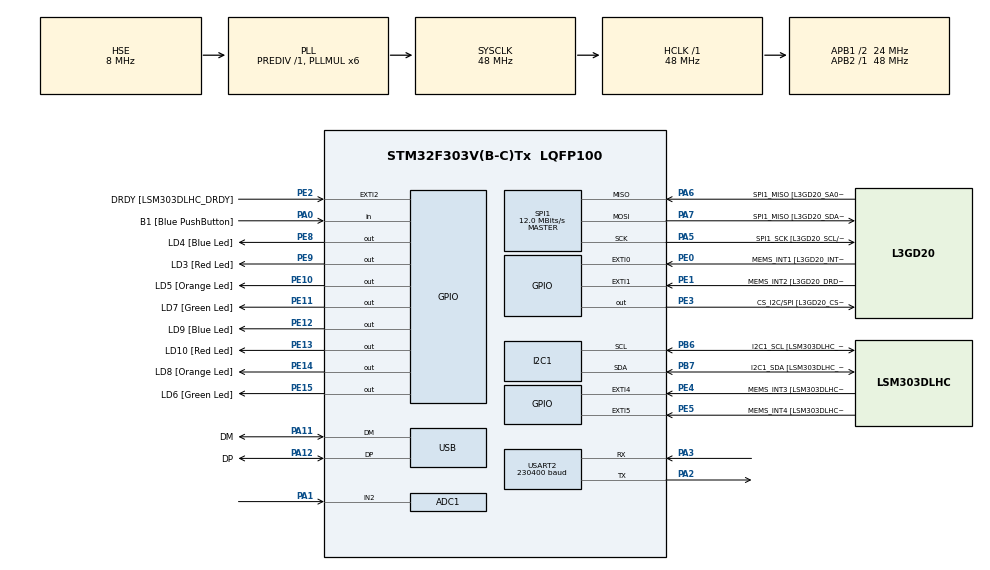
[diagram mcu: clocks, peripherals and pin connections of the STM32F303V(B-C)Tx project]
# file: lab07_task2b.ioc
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ADC1.Channel-0\#ChannelRegularConversion=ADC_CHANNEL_2
ADC1.ContinuousConvMode=ENABLE
ADC1.NbrOfConversionFlag=1
ADC1.Offset-0\#ChannelRegularConversion=0
ADC1.OffsetNumber-0\#ChannelRegularConversion=ADC_OFFSET_NONE
ADC1.Rank-0\#ChannelRegularConversion=1
ADC1.SamplingTime-0\#ChannelRegularConversion=ADC_SAMPLETIME_601CYCLES_5
ADC1.SamplingTimeOPAMP-0\#ChannelRegularConversion=ADC_SAMPLETIME_19CYCLES_5
ADC1.master=1
I2C1.Timing=0x2000090E
I2C1.Timing-I2C=0x2000090E
Mcu.Family=STM32F3
Mcu.Name=STM32F303V(B-C)Tx
Mcu.Package=LQFP100
NVIC.ADC1_2_IRQn=true\:0\:0\:false\:false\:true\:true\:true\:true
NVIC.PriorityGroup=NVIC_PRIORITYGROUP_0
PA0.GPIO_Label=B1 [Blue PushButton]
PA0.Signal=GPIO_Input
PA1.Mode=IN2-Single-Ended
PA1.Signal=ADC1_IN2
PA11.GPIO_Label=DM
PA11.Mode=Device
PA11.Signal=USB_DM
PA12.GPIO_Label=DP
PA12.Mode=Device
PA12.Signal=USB_DP
PA13.GPIO_Label=SWDIO
PA13.Mode=Serial_Wire
PA13.Signal=SYS_JTMS-SWDIO
PA14.GPIO_Label=SWCLK
PA14.Mode=Serial_Wire
PA14.Signal=SYS_JTCK-SWCLK
PA2.Mode=Asynchronous
PA2.Signal=USART2_TX
PA3.Mode=Asynchronous
PA3.Signal=USART2_RX
PA5.GPIO_Label=SPI1_SCK [L3GD20_SCL/SPC]
PA5.Mode=Full_Duplex_Master
PA5.Signal=SPI1_SCK
PA6.GPIO_Label=SPI1_MISO [L3GD20_SA0/SDO]
PA6.Mode=Full_Duplex_Master
PA6.Signal=SPI1_MISO
PA7.GPIO_Label=SPI1_MISO [L3GD20_SDA/SDI/SDO]
PA7.Mode=Full_Duplex_Master
PA7.Signal=SPI1_MOSI
PB3.GPIO_Label=SWO
PB3.Signal=SYS_JTDO-TRACESWO
PB6.GPIO_Label=I2C1_SCL [LSM303DLHC_SCL]
PB6.GPIO_Pu=GPIO_PULLUP
PB6.Mode=I2C
PB6.Signal=I2C1_SCL
PB7.GPIO_Label=I2C1_SDA [LSM303DLHC_SDA]
PB7.GPIO_Pu=GPIO_PULLUP
PB7.Mode=I2C
PB7.Signal=I2C1_SDA
PC14-OSC32_IN.GPIO_Label=OSC32_IN
PC14-OSC32_IN.Signal=RCC_OSC32_IN
PC15-OSC32_OUT.GPIO_Label=OSC32_OUT
PC15-OSC32_OUT.Signal=RCC_OSC32_OUT
PE0.GPIO_Label=MEMS_INT1 [L3GD20_INT1]
PE0.GPIO_ModeDefaultEXTI=GPIO_MODE_EVT_RISING
PE0.Signal=GPXTI0
PE1.GPIO_Label=MEMS_INT2 [L3GD20_DRDY/INT2]
PE1.GPIO_ModeDefaultEXTI=GPIO_MODE_EVT_RISING
PE1.Signal=GPXTI1
PE10.GPIO_Label=LD5 [Orange Led]
PE10.Signal=GPIO_Output
PE11.GPIO_Label=LD7 [Green Led]
PE11.Signal=GPIO_Output
PE12.GPIO_Label=LD9 [Blue Led]
PE12.Signal=GPIO_Output
PE13.GPIO_Label=LD10 [Red Led]
PE13.Signal=GPIO_Output
PE14.GPIO_Label=LD8 [Orange Led]
PE14.Signal=GPIO_Output
PE15.GPIO_Label=LD6 [Green Led]
PE15.Signal=GPIO_Output
PE2.GPIO_Label=DRDY [LSM303DLHC_DRDY]
PE2.GPIO_ModeDefaultEXTI=GPIO_MODE_EVT_RISING
PE2.Signal=GPXTI2
PE3.GPIO_Label=CS_I2C/SPI [L3GD20_CS_I2C/SPI]
PE3.Signal=GPIO_Output
PE4.GPIO_Label=MEMS_INT3 [LSM303DLHC_INT1]
PE4.GPIO_ModeDefaultEXTI=GPIO_MODE_EVT_RISING
PE4.Signal=GPXTI4
PE5.GPIO_Label=MEMS_INT4 [LSM303DLHC_INT2]
PE5.GPIO_ModeDefaultEXTI=GPIO_MODE_EVT_RISING
PE5.Signal=GPXTI5
PE8.GPIO_Label=LD4 [Blue Led]
PE8.Signal=GPIO_Output
PE9.GPIO_Label=LD3 [Red Led]
PE9.Signal=GPIO_Output
PF0-OSC_IN.GPIO_Label=OSC_IN
PF0-OSC_IN.Mode=HSE-External-Clock-Source
PF0-OSC_IN.Signal=RCC_OSC_IN
PF1-OSC_OUT.GPIO_Label=OSC_OUT
PF1-OSC_OUT.Signal=RCC_OSC_OUT
ProjectManager.HeapSize=0x200
ProjectManager.StackSize=0x400
ProjectManager.TargetToolchain=CMake
RCC.AHBFreq_Value=48000000
RCC.APB1CLKDivider=RCC_HCLK_DIV2
RCC.APB1Freq_Value=24000000
RCC.APB1TimFreq_Value=48000000
RCC.APB2Freq_Value=48000000
RCC.APB2TimFreq_Value=48000000
RCC.CortexFreq_Value=48000000
RCC.HCLKFreq_Value=48000000
RCC.HSE_VALUE=8000000
RCC.HSI_VALUE=8000000
RCC.LSE_VALUE=32768
RCC.PLLMUL=RCC_PLL_MUL6
RCC.SYSCLKFreq_VALUE=48000000
RCC.SYSCLKSourceVirtual=RCC_SYSCLKSOURCE_PLLCLK
RCC.USBFreq_Value=48000000
SPI1.BaudRatePrescaler=SPI_BAUDRATEPRESCALER_4
SPI1.BaudRatePrescaler-Full_Duplex_Master=SPI_BAUDRATEPRESCALER_2
SPI1.CalculateBaudRate=12.0 MBits/s
SPI1.CalculateBaudRate-Full_Duplex_Master=24.0 MBits/s
SPI1.Direction=SPI_DIRECTION_2LINES
SPI1.Mode=SPI_MODE_MASTER
SPI1.Mode-Full_Duplex_Master=SPI_MODE_MASTER
SPI1.VirtualType=VM_MASTER
USART2.BaudRate=230400
USART2.VirtualMode-Asynchronous=VM_ASYNC
board=STM32F3DISCOVERY

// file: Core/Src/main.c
/* USER CODE BEGIN Header */
/**
  ******************************************************************************
  * @file           : main.c
  * @brief          : Main program body
  ******************************************************************************
  * @attention
  *
  * Copyright (c) 2026 STMicroelectronics.
  * All rights reserved.
  *
  * This software is licensed under terms that can be found in the LICENSE file
  * in the root directory of this software component.
  * If no LICENSE file comes with this software, it is provided AS-IS.
  *
  ******************************************************************************
  */
/* USER CODE END Header */
#include "main.h"

/* USER CODE BEGIN Includes */

#include <stdarg.h>
#include <stdio.h>
#include <string.h>

/* Use the real CMSIS-DSP header if it is in the include path.
 * Otherwise fall back to a local copy of arm_mean_f32 (same signature)
 * so the project still builds. */
#if __has_include("arm_math.h")
#include "arm_math.h"
#else
#include <stdint.h>
typedef float float32_t;
static void arm_mean_f32(const float32_t *pSrc, uint32_t blockSize, float32_t *pResult)
{
    float32_t sum = 0.0f;
    uint32_t i;

    for (i = 0; i < blockSize; ++i)
    {
        sum += pSrc[i];
    }

    *pResult = sum / (float32_t)blockSize;
}
#endif
/* USER CODE END Includes */

ADC_HandleTypeDef hadc1;

I2C_HandleTypeDef hi2c1;

SPI_HandleTypeDef hspi1;

UART_HandleTypeDef huart2;

PCD_HandleTypeDef hpcd_USB_FS;

/* USER CODE BEGIN PV */
#define FILTER_LEN 10

volatile uint32_t adc_val = 0;
volatile uint8_t adc_ready = 0;
float32_t inputBuffer[FILTER_LEN] = {0};
float32_t output = 0;
uint8_t buf_idx = 0;
/* USER CODE END PV */

void SystemClock_Config(void);
static void MX_GPIO_Init(void);
static void MX_ADC1_Init(void);
static void MX_I2C1_Init(void);
static void MX_SPI1_Init(void);
static void MX_USART2_UART_Init(void);
static void MX_USB_PCD_Init(void);

/* USER CODE BEGIN 0 */
void myPrintf(const char *fmt, ...)
{
    char buffer[100];
    va_list args;
    va_start(args, fmt);
    vsnprintf(buffer, sizeof(buffer), fmt, args);
    va_end(args);
    HAL_UART_Transmit(&huart2, (uint8_t *)buffer, strlen(buffer), HAL_MAX_DELAY);
}

void HAL_ADC_ConvCpltCallback(ADC_HandleTypeDef* hadc)
{
    if (hadc->Instance == ADC1)
    {
        adc_val = HAL_ADC_GetValue(hadc);
        adc_ready = 1;
    }
}

void apply_moving_average(float32_t new_sample)
{
    inputBuffer[buf_idx] = new_sample;
    buf_idx = (buf_idx + 1) % FILTER_LEN;
    arm_mean_f32(inputBuffer, FILTER_LEN, &output);
}

/* USER CODE END 0 */

int main(void)
{

  /* MCU Configuration--------------------------------------------------------*/

  /* Reset of all peripherals, Initializes the Flash interface and the Systick. */
  HAL_Init();

  /* Configure the system clock */
  SystemClock_Config();

  /* Initialize all configured peripherals */
  MX_GPIO_Init();
  MX_ADC1_Init();
  MX_I2C1_Init();
  MX_SPI1_Init();
  MX_USART2_UART_Init();
  MX_USB_PCD_Init();
  /* USER CODE BEGIN 2 */
  HAL_ADCEx_Calibration_Start(&hadc1, ADC_SINGLE_ENDED);
  HAL_ADC_Start_IT(&hadc1);
  /* USER CODE END 2 */

  /* Infinite loop */
  while (1)
  {

    /* USER CODE BEGIN 3 */
    if (adc_ready)
    {
        adc_ready = 0;
        apply_moving_average((float32_t)adc_val);
        myPrintf("%lu,%lu\r\n", adc_val, (uint32_t)output);
        HAL_Delay(1);
    }
  }
  /* USER CODE END 3 */
}

void SystemClock_Config(void)
{
  RCC_OscInitTypeDef RCC_OscInitStruct = {0};
  RCC_ClkInitTypeDef RCC_ClkInitStruct = {0};
  RCC_PeriphCLKInitTypeDef PeriphClkInit = {0};

  /** Initializes the RCC Oscillators according to the specified parameters
  * in the RCC_OscInitTypeDef structure.
  */
  RCC_OscInitStruct.OscillatorType = RCC_OSCILLATORTYPE_HSI|RCC_OSCILLATORTYPE_HSE;
  RCC_OscInitStruct.HSEState = RCC_HSE_BYPASS;
  RCC_OscInitStruct.HSEPredivValue = RCC_HSE_PREDIV_DIV1;
  RCC_OscInitStruct.HSIState = RCC_HSI_ON;
  RCC_OscInitStruct.HSICalibrationValue = RCC_HSICALIBRATION_DEFAULT;
  RCC_OscInitStruct.PLL.PLLState = RCC_PLL_ON;
  RCC_OscInitStruct.PLL.PLLSource = RCC_PLLSOURCE_HSE;
  RCC_OscInitStruct.PLL.PLLMUL = RCC_PLL_MUL6;
  if (HAL_RCC_OscConfig(&RCC_OscInitStruct) != HAL_OK)
  {
    Error_Handler();
  }

  /** Initializes the CPU, AHB and APB buses clocks
  */
  RCC_ClkInitStruct.ClockType = RCC_CLOCKTYPE_HCLK|RCC_CLOCKTYPE_SYSCLK
                              |RCC_CLOCKTYPE_PCLK1|RCC_CLOCKTYPE_PCLK2;
  RCC_ClkInitStruct.SYSCLKSource = RCC_SYSCLKSOURCE_PLLCLK;
  RCC_ClkInitStruct.AHBCLKDivider = RCC_SYSCLK_DIV1;
  RCC_ClkInitStruct.APB1CLKDivider = RCC_HCLK_DIV2;
  RCC_ClkInitStruct.APB2CLKDivider = RCC_HCLK_DIV1;

  if (HAL_RCC_ClockConfig(&RCC_ClkInitStruct, FLASH_LATENCY_1) != HAL_OK)
  {
    Error_Handler();
  }
  PeriphClkInit.PeriphClockSelection = RCC_PERIPHCLK_USB|RCC_PERIPHCLK_USART2
                              |RCC_PERIPHCLK_I2C1|RCC_PERIPHCLK_ADC12;
  PeriphClkInit.Usart2ClockSelection = RCC_USART2CLKSOURCE_PCLK1;
  PeriphClkInit.Adc12ClockSelection = RCC_ADC12PLLCLK_DIV1;
  PeriphClkInit.I2c1ClockSelection = RCC_I2C1CLKSOURCE_HSI;
  PeriphClkInit.USBClockSelection = RCC_USBCLKSOURCE_PLL;
  if (HAL_RCCEx_PeriphCLKConfig(&PeriphClkInit) != HAL_OK)
  {
    Error_Handler();
  }
}

static void MX_ADC1_Init(void)
{

  ADC_MultiModeTypeDef multimode = {0};
  ADC_ChannelConfTypeDef sConfig = {0};

  /** Common config
  */
  hadc1.Instance = ADC1;
  hadc1.Init.ClockPrescaler = ADC_CLOCK_ASYNC_DIV1;
  hadc1.Init.Resolution = ADC_RESOLUTION_12B;
  hadc1.Init.ScanConvMode = ADC_SCAN_DISABLE;
  hadc1.Init.ContinuousConvMode = ENABLE;
  hadc1.Init.DiscontinuousConvMode = DISABLE;
  hadc1.Init.ExternalTrigConvEdge = ADC_EXTERNALTRIGCONVEDGE_NONE;
  hadc1.Init.ExternalTrigConv = ADC_SOFTWARE_START;
  hadc1.Init.DataAlign = ADC_DATAALIGN_RIGHT;
  hadc1.Init.NbrOfConversion = 1;
  hadc1.Init.DMAContinuousRequests = DISABLE;
  hadc1.Init.EOCSelection = ADC_EOC_SINGLE_CONV;
  hadc1.Init.LowPowerAutoWait = DISABLE;
  hadc1.Init.Overrun = ADC_OVR_DATA_OVERWRITTEN;
  if (HAL_ADC_Init(&hadc1) != HAL_OK)
  {
    Error_Handler();
  }

  /** Configure the ADC multi-mode
  */
  multimode.Mode = ADC_MODE_INDEPENDENT;
  if (HAL_ADCEx_MultiModeConfigChannel(&hadc1, &multimode) != HAL_OK)
  {
    Error_Handler();
  }

  /** Configure Regular Channel
  */
  sConfig.Channel = ADC_CHANNEL_2;
  sConfig.Rank = ADC_REGULAR_RANK_1;
  sConfig.SingleDiff = ADC_SINGLE_ENDED;
  sConfig.SamplingTime = ADC_SAMPLETIME_601CYCLES_5;
  sConfig.OffsetNumber = ADC_OFFSET_NONE;
  sConfig.Offset = 0;
  if (HAL_ADC_ConfigChannel(&hadc1, &sConfig) != HAL_OK)
  {
    Error_Handler();
  }

}

static void MX_I2C1_Init(void)
{

  hi2c1.Instance = I2C1;
  hi2c1.Init.Timing = 0x2000090E;
  hi2c1.Init.OwnAddress1 = 0;
  hi2c1.Init.AddressingMode = I2C_ADDRESSINGMODE_7BIT;
  hi2c1.Init.DualAddressMode = I2C_DUALADDRESS_DISABLE;
  hi2c1.Init.OwnAddress2 = 0;
  hi2c1.Init.OwnAddress2Masks = I2C_OA2_NOMASK;
  hi2c1.Init.GeneralCallMode = I2C_GENERALCALL_DISABLE;
  hi2c1.Init.NoStretchMode = I2C_NOSTRETCH_DISABLE;
  if (HAL_I2C_Init(&hi2c1) != HAL_OK)
  {
    Error_Handler();
  }

  /** Configure Analogue filter
  */
  if (HAL_I2CEx_ConfigAnalogFilter(&hi2c1, I2C_ANALOGFILTER_ENABLE) != HAL_OK)
  {
    Error_Handler();
  }

  /** Configure Digital filter
  */
  if (HAL_I2CEx_ConfigDigitalFilter(&hi2c1, 0) != HAL_OK)
  {
    Error_Handler();
  }

}

static void MX_SPI1_Init(void)
{

  /* SPI1 parameter configuration*/
  hspi1.Instance = SPI1;
  hspi1.Init.Mode = SPI_MODE_MASTER;
  hspi1.Init.Direction = SPI_DIRECTION_2LINES;
  hspi1.Init.DataSize = SPI_DATASIZE_4BIT;
  hspi1.Init.CLKPolarity = SPI_POLARITY_LOW;
  hspi1.Init.CLKPhase = SPI_PHASE_1EDGE;
  hspi1.Init.NSS = SPI_NSS_SOFT;
  hspi1.Init.BaudRatePrescaler = SPI_BAUDRATEPRESCALER_4;
  hspi1.Init.FirstBit = SPI_FIRSTBIT_MSB;
  hspi1.Init.TIMode = SPI_TIMODE_DISABLE;
  hspi1.Init.CRCCalculation = SPI_CRCCALCULATION_DISABLE;
  hspi1.Init.CRCPolynomial = 7;
  hspi1.Init.CRCLength = SPI_CRC_LENGTH_DATASIZE;
  hspi1.Init.NSSPMode = SPI_NSS_PULSE_ENABLE;
  if (HAL_SPI_Init(&hspi1) != HAL_OK)
  {
    Error_Handler();
  }

}

static void MX_USART2_UART_Init(void)
{

  huart2.Instance = USART2;
  huart2.Init.BaudRate = 230400;
  huart2.Init.WordLength = UART_WORDLENGTH_8B;
  huart2.Init.StopBits = UART_STOPBITS_1;
  huart2.Init.Parity = UART_PARITY_NONE;
  huart2.Init.Mode = UART_MODE_TX_RX;
  huart2.Init.HwFlowCtl = UART_HWCONTROL_NONE;
  huart2.Init.OverSampling = UART_OVERSAMPLING_16;
  huart2.Init.OneBitSampling = UART_ONE_BIT_SAMPLE_DISABLE;
  huart2.AdvancedInit.AdvFeatureInit = UART_ADVFEATURE_NO_INIT;
  if (HAL_UART_Init(&huart2) != HAL_OK)
  {
    Error_Handler();
  }

}

static void MX_USB_PCD_Init(void)
{

  hpcd_USB_FS.Instance = USB;
  hpcd_USB_FS.Init.dev_endpoints = 8;
  hpcd_USB_FS.Init.speed = PCD_SPEED_FULL;
  hpcd_USB_FS.Init.phy_itface = PCD_PHY_EMBEDDED;
  hpcd_USB_FS.Init.low_power_enable = DISABLE;
  hpcd_USB_FS.Init.battery_charging_enable = DISABLE;
  if (HAL_PCD_Init(&hpcd_USB_FS) != HAL_OK)
  {
    Error_Handler();
  }

}

static void MX_GPIO_Init(void)
{
  GPIO_InitTypeDef GPIO_InitStruct = {0};

  /* GPIO Ports Clock Enable */
  __HAL_RCC_GPIOE_CLK_ENABLE();
  __HAL_RCC_GPIOC_CLK_ENABLE();
  __HAL_RCC_GPIOF_CLK_ENABLE();
  __HAL_RCC_GPIOA_CLK_ENABLE();
  __HAL_RCC_GPIOB_CLK_ENABLE();

  /*Configure GPIO pin Output Level */
  HAL_GPIO_WritePin(GPIOE, CS_I2C_SPI_Pin|LD4_Pin|LD3_Pin|LD5_Pin
                          |LD7_Pin|LD9_Pin|LD10_Pin|LD8_Pin
                          |LD6_Pin, GPIO_PIN_RESET);

  /*Configure GPIO pins : DRDY_Pin MEMS_INT3_Pin MEMS_INT4_Pin MEMS_INT1_Pin
                           MEMS_INT2_Pin */
  GPIO_InitStruct.Pin = DRDY_Pin|MEMS_INT3_Pin|MEMS_INT4_Pin|MEMS_INT1_Pin
                          |MEMS_INT2_Pin;
  GPIO_InitStruct.Mode = GPIO_MODE_EVT_RISING;
  GPIO_InitStruct.Pull = GPIO_NOPULL;
  HAL_GPIO_Init(GPIOE, &GPIO_InitStruct);

  /*Configure GPIO pins : CS_I2C_SPI_Pin LD4_Pin LD3_Pin LD5_Pin
                           LD7_Pin LD9_Pin LD10_Pin LD8_Pin
                           LD6_Pin */
  GPIO_InitStruct.Pin = CS_I2C_SPI_Pin|LD4_Pin|LD3_Pin|LD5_Pin
                          |LD7_Pin|LD9_Pin|LD10_Pin|LD8_Pin
                          |LD6_Pin;
  GPIO_InitStruct.Mode = GPIO_MODE_OUTPUT_PP;
  GPIO_InitStruct.Pull = GPIO_NOPULL;
  GPIO_InitStruct.Speed = GPIO_SPEED_FREQ_LOW;
  HAL_GPIO_Init(GPIOE, &GPIO_InitStruct);

  /*Configure GPIO pin : B1_Pin */
  GPIO_InitStruct.Pin = B1_Pin;
  GPIO_InitStruct.Mode = GPIO_MODE_INPUT;
  GPIO_InitStruct.Pull = GPIO_NOPULL;
  HAL_GPIO_Init(B1_GPIO_Port, &GPIO_InitStruct);

}

void Error_Handler(void)
{
  __disable_irq();
  while (1)
  {
  }
}
